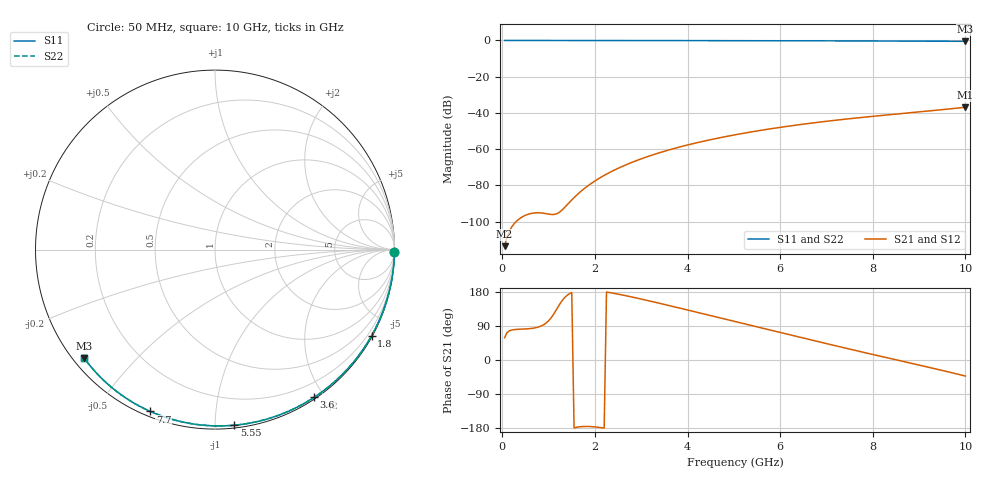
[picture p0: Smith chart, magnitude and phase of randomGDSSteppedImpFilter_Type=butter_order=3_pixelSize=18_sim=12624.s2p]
! freq	dB(S11)	phase(S11)	dB(S12)	phase(S12)
!  dB(S21)	phase(S21)	dB(S22)	phase(S22)
!S-par simulation data
#  GHz  S  DB  R 50
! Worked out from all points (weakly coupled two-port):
!   200 points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, 50 MHz to 10 GHz, reference 50 ohm
!   highest |S21| = -36.87 dB at 10 GHz (marker M1); lowest = -113.6 dB at 50 MHz (marker M2)
!   lowest |S11| = -0.5 dB at 10 GHz (marker M3), VSWR 36.71, Z = 1.54 - j18 ohm
!   |S11| at or under -10 dB: nowhere
!   |S22| runs from -0.5 to 0.0 dB; largest |S21 - S12| = 0
!   S11 on the Smith chart (normalised r, x): 50 MHz: open; 1.8 GHz: 0.03, -3.90; 3.6 GHz: 0.02, -1.87; 5.55 GHz: 0.02, -1.12; 7.7 GHz: 0.02, -0.68; 10 GHz: 0.03, -0.36
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0.05  -0.00 -0.8  -113.57 58.9  -113.57 58.9  -0.00 -0.8
0.45  -0.01 -7.3  -97.13 81.7  -97.13 81.7  -0.01 -7.3
0.9  -0.02 -14.5  -95.41 93.6  -95.41 93.6  -0.02 -14.5
1.75  -0.04 -28.0  -82.19 -175.4  -82.19 -175.4  -0.04 -28.0
1.8  -0.04 -28.8  -81.18 -175.3  -81.18 -175.3  -0.04 -28.8
1.85  -0.04 -29.5  -80.22 -175.4  -80.22 -175.4  -0.04 -29.5
2.2  -0.04 -35.0  -74.50 -179.7  -74.50 -179.7  -0.04 -35.0
2.35  -0.05 -37.3  -72.45 177.3  -72.45 177.3  -0.05 -37.3
2.55  -0.05 -40.4  -70.00 172.6  -70.00 172.6  -0.05 -40.4
2.95  -0.06 -46.5  -65.82 162.2  -65.82 162.2  -0.06 -46.5
3.4  -0.07 -53.2  -61.94 149.5  -61.94 149.5  -0.07 -53.2
3.6  -0.08 -56.2  -60.43 143.7  -60.43 143.7  -0.08 -56.1
3.9  -0.08 -60.5  -58.35 134.9  -58.35 134.9  -0.08 -60.5
4.3  -0.09 -66.3  -55.89 123.1  -55.89 123.1  -0.09 -66.3
5.05  -0.12 -76.9  -51.97 100.8  -51.97 100.8  -0.12 -76.9
5.55  -0.14 -83.7  -49.76 86.0  -49.76 86.0  -0.14 -83.7
6.1  -0.16 -91.1  -47.61 69.7  -47.61 69.7  -0.16 -91.1
6.7  -0.19 -99.0  -45.55 52.0  -45.55 52.0  -0.19 -99.0
7.7  -0.26 -111.8  -42.66 23.1  -42.66 23.1  -0.26 -111.8
8.35  -0.31 -119.9  -41.02 4.7  -41.02 4.7  -0.31 -119.9
9.2  -0.38 -130.4  -38.95 -19.0  -38.95 -19.0  -0.38 -130.4
10  -0.47 -140.3  -36.87 -42.5  -36.87 -42.5  -0.47 -140.3
